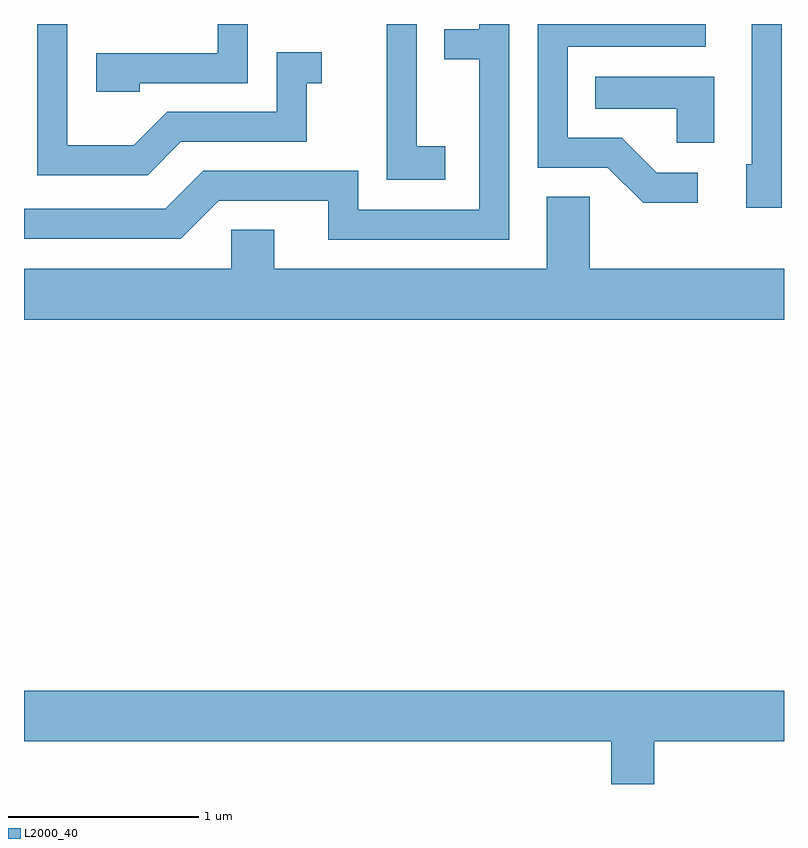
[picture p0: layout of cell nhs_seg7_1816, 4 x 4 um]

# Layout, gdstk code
import gdstk
lib = gdstk.Library(unit=1e-6, precision=1e-09)
def P(c, l, *ps):  # polygons
    for p in ps: c.add(gdstk.Polygon(p, *l))
L2000_40 = (2000, 40)

nhs_seg7_1816 = lib.new_cell('nhs_seg7_1816')
P(nhs_seg7_1816, L2000_40, [(242.164,1780.252),(242.006,1780.252),(242.006,1780.224),(241.823,1780.224),(241.823,1780.066),(242.006,1780.066),(242.006,1779.274),(241.369,1779.274),(241.369,1779.479),(240.554,1779.479),(240.354,1779.279),(239.611,1779.279),(239.611,1779.121),(240.437,1779.121),(240.637,1779.321),(241.211,1779.321),(241.211,1779.116),(242.164,1779.116)],
  [(243.599,1780.252),(243.441,1780.252),(243.441,1779.514),(243.411,1779.514),(243.411,1779.286),(243.599,1779.286)],
  [(240.437,1779.631),(241.099,1779.631),(241.099,1779.941),(241.178,1779.941),(241.178,1780.104),(240.941,1780.104),(240.941,1779.789),(240.364,1779.789),(240.189,1779.614),(239.839,1779.614),(239.839,1780.252),(239.681,1780.252),(239.681,1779.456),(240.262,1779.456)],
  [(240.219,1779.941),(240.789,1779.941),(240.789,1780.252),(240.631,1780.252),(240.631,1780.099),(239.991,1780.099),(239.991,1779.896),(240.219,1779.896)],
  [(241.829,1779.609),(241.679,1779.609),(241.679,1780.252),(241.521,1780.252),(241.521,1779.431),(241.829,1779.431)],
  [(243.158,1779.469),(242.942,1779.469),(242.757,1779.654),(242.474,1779.654),(242.474,1780.131),(243.198,1780.131),(243.198,1780.252),(242.316,1780.252),(242.316,1779.496),(242.684,1779.496),(242.869,1779.311),(243.158,1779.311)],
  [(243.244,1779.974),(242.618,1779.974),(242.618,1779.806),(243.046,1779.806),(243.046,1779.626),(243.244,1779.626)],
  [(243.611,1778.964),(242.589,1778.964),(242.589,1779.344),(242.361,1779.344),(242.361,1778.964),(240.929,1778.964),(240.929,1779.169),(240.701,1779.169),(240.701,1778.964),(239.611,1778.964),(239.611,1778.696),(243.611,1778.696)],
  [(242.929,1776.476),(243.611,1776.476),(243.611,1776.744),(239.611,1776.744),(239.611,1776.476),(242.701,1776.476),(242.701,1776.252),(242.929,1776.252)])

lib.write_gds('nhs_seg7_1816.gds')
